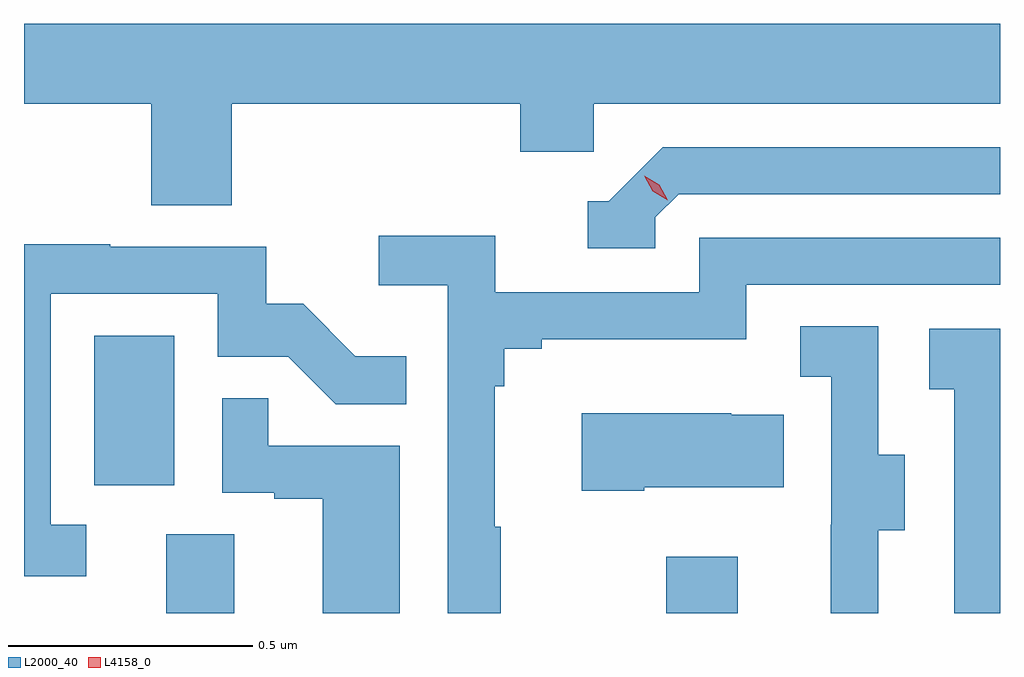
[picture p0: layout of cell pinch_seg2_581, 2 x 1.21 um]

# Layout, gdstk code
import gdstk
lib = gdstk.Library(unit=1e-6, precision=1e-09)
def R(c, l, rs):  # rectangles x0, y0, x1, y1
    for r in rs: c.add(gdstk.rectangle(r[:2], r[2:], *l))
def P(c, l, *ps):  # polygons
    for p in ps: c.add(gdstk.Polygon(p, *l))
L2000_40 = (2000, 40)
L4158_0 = (4158, 0)

pinch_seg2_581 = lib.new_cell('pinch_seg2_581')
R(pinch_seg2_581, L2000_40, [(1098.089,609.296,1098.229,609.458), (1099.114,609.296,1099.261,609.412), (1097.942,609.558,1098.106,609.865)])
P(pinch_seg2_581, L2000_40, [(1098.224,610.34),(1098.815,610.34),(1098.815,610.242),(1098.966,610.242),(1098.966,610.34),(1099.798,610.34),(1099.798,610.504),(1097.798,610.504),(1097.798,610.34),(1098.059,610.34),(1098.059,610.132),(1098.224,610.132)],
  [(1099.092,610.107),(1099.14,610.155),(1099.798,610.155),(1099.798,610.251),(1099.107,610.251),(1098.996,610.14),(1098.953,610.14),(1098.953,610.044),(1099.092,610.044)],
  [(1098.775,609.473),(1098.763,609.473),(1098.763,609.761),(1098.782,609.761),(1098.782,609.838),(1098.859,609.838),(1098.859,609.857),(1099.278,609.857),(1099.278,609.969),(1099.798,609.969),(1099.798,610.065),(1099.182,610.065),(1099.182,609.954),(1098.764,609.954),(1098.764,610.07),(1098.525,610.07),(1098.525,609.968),(1098.666,609.968),(1098.666,609.296),(1098.775,609.296)],
  [(1097.926,609.477),(1097.853,609.477),(1097.853,609.951),(1098.195,609.951),(1098.195,609.822),(1098.339,609.822),(1098.437,609.724),(1098.581,609.724),(1098.581,609.823),(1098.477,609.823),(1098.37,609.93),(1098.294,609.93),(1098.294,610.047),(1097.975,610.047),(1097.975,610.052),(1097.798,610.052),(1097.798,609.372),(1097.926,609.372)],
  [(1099.549,609.466),(1099.603,609.466),(1099.603,609.621),(1099.548,609.621),(1099.548,609.884),(1099.389,609.884),(1099.389,609.781),(1099.452,609.781),(1099.452,609.477),(1099.451,609.477),(1099.451,609.296),(1099.549,609.296)],
  [(1099.798,609.879),(1099.653,609.879),(1099.653,609.755),(1099.704,609.755),(1099.704,609.296),(1099.798,609.296)],
  [(1098.568,609.639),(1098.299,609.639),(1098.299,609.737),(1098.204,609.737),(1098.204,609.543),(1098.311,609.543),(1098.311,609.531),(1098.41,609.531),(1098.41,609.296),(1098.568,609.296)],
  [(1099.069,609.554),(1099.355,609.554),(1099.355,609.703),(1099.247,609.703),(1099.247,609.706),(1098.941,609.706),(1098.941,609.547),(1099.069,609.547)])
P(pinch_seg2_581, L4158_0, [(1099.117,610.142),(1099.086,610.161),(1099.069,610.193),(1099.069,610.193),(1099.069,610.193),(1099.1,610.174),(1099.117,610.142),(1099.117,610.142)])

lib.write_gds('pinch_seg2_581.gds')
